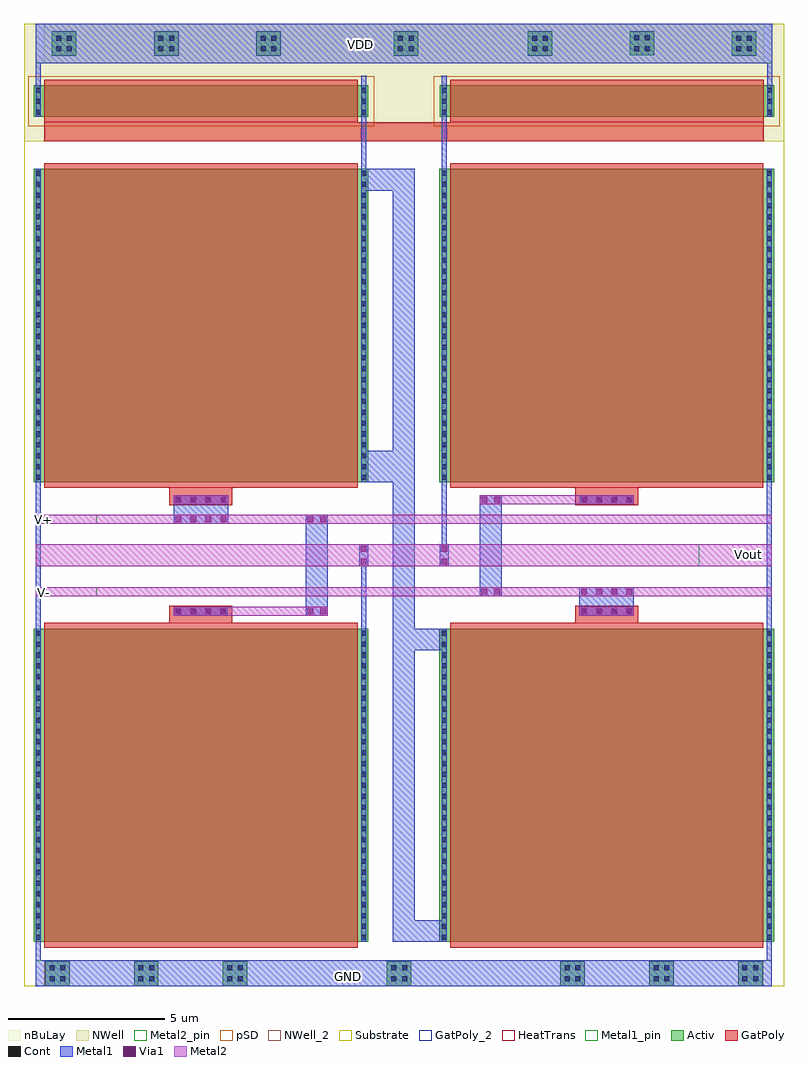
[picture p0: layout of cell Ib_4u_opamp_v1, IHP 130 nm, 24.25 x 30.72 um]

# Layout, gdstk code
from math import pi, radians
import gdstk
lib = gdstk.Library(unit=1e-6, precision=5e-09)
def R(c, l, rs):  # rectangles x0, y0, x1, y1
    for r in rs: c.add(gdstk.rectangle(r[:2], r[2:], *l))
def A(c, l, x, y, w, h, nx, ny, dx, dy):  # array of equal rectangles
    R(c, l, [(x+i*dx, y+j*dy, x+i*dx+w, y+j*dy+h) for i in range(nx) for j in range(ny)])
Activ = (1, 0)
GatPoly = (5, 0)
GatPoly_2 = (5, 2)
Cont = (6, 0)
Metal1 = (8, 0)
Metal1_pin = (8, 2)
Metal2 = (10, 0)
Metal2_pin = (10, 2)
pSD = (14, 0)
Via1 = (19, 0)
NWell = (31, 0)
NWell_2 = (31, 2)
nBuLay = (32, 0)
Substrate = (40, 0)
HeatTrans = (51, 0)

nmos = lib.new_cell('nmos')
R(nmos, Activ, [(0,0,0.3,0.3), (0,0,10.68,10), (10.38,0,10.68,0.3)])
R(nmos, GatPoly, [(0.34,-0.18,10.34,10.18)])
R(nmos, GatPoly_2, [(0.34,-0.18,10.34,10.18)])
A(nmos, Cont, 0.07, 0.07, 0.16, 0.16, 1, 4, 0, 0.345)
A(nmos, Cont, 10.45, 0.07, 0.16, 0.16, 1, 4, 0, 0.345)
A(nmos, Cont, 0.07, 1.455, 0.16, 0.16, 1, 3, 0, 0.345)
A(nmos, Cont, 10.45, 1.455, 0.16, 0.16, 1, 3, 0, 0.345)
A(nmos, Cont, 0.07, 2.495, 0.16, 0.16, 1, 4, 0, 0.345)
A(nmos, Cont, 10.45, 2.495, 0.16, 0.16, 1, 4, 0, 0.345)
A(nmos, Cont, 0.07, 3.88, 0.16, 0.16, 1, 3, 0, 0.345)
A(nmos, Cont, 10.45, 3.88, 0.16, 0.16, 1, 3, 0, 0.345)
A(nmos, Cont, 0.07, 4.92, 0.16, 0.16, 1, 4, 0, 0.345)
A(nmos, Cont, 10.45, 4.92, 0.16, 0.16, 1, 4, 0, 0.345)
A(nmos, Cont, 0.07, 6.305, 0.16, 0.16, 1, 3, 0, 0.345)
A(nmos, Cont, 10.45, 6.305, 0.16, 0.16, 1, 3, 0, 0.345)
A(nmos, Cont, 0.07, 7.345, 0.16, 0.16, 1, 4, 0, 0.345)
A(nmos, Cont, 10.45, 7.345, 0.16, 0.16, 1, 4, 0, 0.345)
A(nmos, Cont, 0.07, 8.73, 0.16, 0.16, 1, 3, 0, 0.345)
A(nmos, Cont, 10.45, 8.73, 0.16, 0.16, 1, 3, 0, 0.345)
R(nmos, Cont, [(0.07,9.77,0.23,9.93), (10.45,9.77,10.61,9.93)])
R(nmos, Metal1, [(0.07,0,0.23,10), (10.45,0,10.61,10)])
R(nmos, Metal1_pin, [(0.07,0,0.23,10), (10.45,0,10.61,10)])
R(nmos, HeatTrans, [(0.34,-0.18,10.34,10.18)])
nmos.add(gdstk.Label('nmos', (5.34,5), layer=63, texttype=0))
nmos.add(gdstk.Label('nmos', (5.34,5), layer=51, texttype=0))

pmos_2 = lib.new_cell('pmos$2')
R(pmos_2, Activ, [(0,0,0.3,0.3), (0,0,10.68,1), (10.38,0,10.68,0.3)])
R(pmos_2, GatPoly, [(0.34,-0.18,10.34,1.18), (0.34,-0.18,10.34,1.18)])
A(pmos_2, Cont, 0.07, 0.07, 0.16, 0.16, 1, 3, 0, 0.35)
A(pmos_2, Cont, 10.45, 0.07, 0.16, 0.16, 1, 3, 0, 0.35)
R(pmos_2, Metal1, [(0.07,0,0.23,1), (0.07,0,0.23,1), (10.45,0,10.61,1), (10.45,0,10.61,1)])
R(pmos_2, pSD, [(-0.18,-0.3,10.86,1.3)])
R(pmos_2, NWell, [(-0.31,-0.31,10.99,1.31)])
R(pmos_2, Substrate, [(10.38,0,10.68,0.3)])
R(pmos_2, HeatTrans, [(0.34,-0.18,10.34,1.18)])
pmos_2.add(gdstk.Label('pmos', (5.34,0.5), layer=63, texttype=0))
pmos_2.add(gdstk.Label('pmos', (5.34,0.5), layer=51, texttype=0))

pmos = lib.new_cell('pmos')
R(pmos, Activ, [(0,0,0.3,0.3), (0,0,10.68,1), (10.38,0,10.68,0.3)])
R(pmos, GatPoly, [(0.34,-0.18,10.34,1.18), (0.34,-0.18,10.34,1.18)])
A(pmos, Cont, 0.07, 0.07, 0.16, 0.16, 1, 3, 0, 0.35)
A(pmos, Cont, 10.45, 0.07, 0.16, 0.16, 1, 3, 0, 0.35)
R(pmos, Metal1, [(0.07,0,0.23,1), (0.07,0,0.23,1), (10.45,0,10.61,1), (10.45,0,10.61,1)])
R(pmos, pSD, [(-0.18,-0.3,10.86,1.3)])
R(pmos, NWell, [(-0.31,-0.31,10.99,1.31)])
R(pmos, Substrate, [(10.38,0,10.68,0.3)])
R(pmos, HeatTrans, [(0.34,-0.18,10.34,1.18)])
pmos.add(gdstk.Label('pmos', (5.34,0.5), layer=63, texttype=0))
pmos.add(gdstk.Label('pmos', (5.34,0.5), layer=51, texttype=0))

via_stack = lib.new_cell('via_stack')
R(via_stack, Metal1, [(-0.145,-0.35,0.145,0.35)])
R(via_stack, Metal2, [(-0.145,-0.35,0.145,0.35)])
R(via_stack, Via1, [(-0.095,-0.3,0.095,-0.11), (-0.095,0.11,0.095,0.3)])

via_stack_1 = lib.new_cell('via_stack$1')
R(via_stack_1, Metal1, [(-0.865,-0.145,0.865,0.145)])
R(via_stack_1, Metal2, [(-0.865,-0.145,0.865,0.145)])
A(via_stack_1, Via1, -0.815, -0.095, 0.19, 0.19, 4, 1, 0.48, 0)

ntap1 = lib.new_cell('ntap1')
R(ntap1, Activ, [(0,0,0.78,0.78)])
R(ntap1, Cont, [(0.14,0.14,0.3,0.3), (0.48,0.14,0.64,0.3), (0.14,0.48,0.3,0.64), (0.48,0.48,0.64,0.64)])
R(ntap1, Metal1, [(0.14,0.09,0.64,0.69)])
R(ntap1, Metal1_pin, [(0.14,0.09,0.64,0.69), (0.14,0.14,0.64,0.64)])
R(ntap1, NWell, [(-0.24,-0.24,1.02,1.02), (0,0,0.78,0.78)])
R(ntap1, NWell_2, [(0,0,0.78,0.78)])
R(ntap1, nBuLay, [(-0.24,-0.24,1.02,1.02)])
ntap1.add(gdstk.Label('well', (0.39,0.01), layer=63, texttype=0))
ntap1.add(gdstk.Label('well', (0.39,0.01), layer=31, texttype=0))

ptap1 = lib.new_cell('ptap1')
R(ptap1, Activ, [(0,0,0.78,0.78)])
R(ptap1, Cont, [(0.14,0.14,0.3,0.3), (0.48,0.14,0.64,0.3), (0.14,0.48,0.3,0.64), (0.48,0.48,0.64,0.64)])
R(ptap1, Metal1, [(0.14,0.09,0.64,0.69), (0.14,0.14,0.64,0.64)])
R(ptap1, Metal1_pin, [(0.14,0.14,0.64,0.64)])
R(ptap1, pSD, [(-0.03,-0.03,0.81,0.81)])
R(ptap1, Substrate, [(0,0,0.78,0.78)])
ptap1.add(gdstk.Label('sub!', (0.39,0.01), layer=63, texttype=0))
ptap1.add(gdstk.Label('sub!', (0.39,0.01), layer=40, texttype=0))

via_stack_2 = lib.new_cell('via_stack$2')
R(via_stack_2, Metal1, [(-0.35,-0.145,0.35,0.145)])
R(via_stack_2, Metal2, [(-0.35,-0.145,0.35,0.145)])
R(via_stack_2, Via1, [(-0.3,-0.095,-0.11,0.095), (0.11,-0.095,0.3,0.095)])

nmos_1 = lib.new_cell('nmos$1')
R(nmos_1, Activ, [(0,0,0.3,0.3), (0,0,10.68,10), (10.38,0,10.68,0.3)])
R(nmos_1, GatPoly, [(0.34,-0.18,10.34,10.18)])
R(nmos_1, GatPoly_2, [(0.34,-0.18,10.34,10.18)])
A(nmos_1, Cont, 0.07, 0.07, 0.16, 0.16, 1, 4, 0, 0.345)
A(nmos_1, Cont, 10.45, 0.07, 0.16, 0.16, 1, 4, 0, 0.345)
A(nmos_1, Cont, 0.07, 1.455, 0.16, 0.16, 1, 3, 0, 0.345)
A(nmos_1, Cont, 10.45, 1.455, 0.16, 0.16, 1, 3, 0, 0.345)
A(nmos_1, Cont, 0.07, 2.495, 0.16, 0.16, 1, 4, 0, 0.345)
A(nmos_1, Cont, 10.45, 2.495, 0.16, 0.16, 1, 4, 0, 0.345)
A(nmos_1, Cont, 0.07, 3.88, 0.16, 0.16, 1, 3, 0, 0.345)
A(nmos_1, Cont, 10.45, 3.88, 0.16, 0.16, 1, 3, 0, 0.345)
A(nmos_1, Cont, 0.07, 4.92, 0.16, 0.16, 1, 4, 0, 0.345)
A(nmos_1, Cont, 10.45, 4.92, 0.16, 0.16, 1, 4, 0, 0.345)
A(nmos_1, Cont, 0.07, 6.305, 0.16, 0.16, 1, 3, 0, 0.345)
A(nmos_1, Cont, 10.45, 6.305, 0.16, 0.16, 1, 3, 0, 0.345)
A(nmos_1, Cont, 0.07, 7.345, 0.16, 0.16, 1, 4, 0, 0.345)
A(nmos_1, Cont, 10.45, 7.345, 0.16, 0.16, 1, 4, 0, 0.345)
A(nmos_1, Cont, 0.07, 8.73, 0.16, 0.16, 1, 3, 0, 0.345)
A(nmos_1, Cont, 10.45, 8.73, 0.16, 0.16, 1, 3, 0, 0.345)
R(nmos_1, Cont, [(0.07,9.77,0.23,9.93), (10.45,9.77,10.61,9.93)])
R(nmos_1, Metal1, [(0.07,0,0.23,10), (10.45,0,10.61,10)])
R(nmos_1, Metal1_pin, [(0.07,0,0.23,10), (10.45,0,10.61,10)])
R(nmos_1, HeatTrans, [(0.34,-0.18,10.34,10.18)])
nmos_1.add(gdstk.Label('nmos', (5.34,5), layer=63, texttype=0))
nmos_1.add(gdstk.Label('nmos', (5.34,5), layer=51, texttype=0))

ib_4u_opamp_v1 = lib.new_cell('Ib_4u_opamp_v1')
R(ib_4u_opamp_v1, GatPoly, [(4.32,10.045,6.33,10.595), (17.265,10.045,19.275,10.595), (4.32,13.8,6.33,14.355), (17.265,13.8,19.275,14.355), (0.33,25.41,23.275,26.01)])
R(ib_4u_opamp_v1, GatPoly_2, [(4.32,10.045,6.33,10.595), (17.265,10.045,19.275,10.595), (4.32,13.8,6.33,14.355), (17.265,13.8,19.275,14.355)])
A(ib_4u_opamp_v1, Cont, 4.52, 10.34, 0.16, 0.16, 4, 1, 0.48, 0)
A(ib_4u_opamp_v1, Cont, 17.465, 10.34, 0.16, 0.16, 4, 1, 0.48, 0)
A(ib_4u_opamp_v1, Cont, 4.525, 13.895, 0.16, 0.16, 4, 1, 0.48, 0)
A(ib_4u_opamp_v1, Cont, 17.47, 13.895, 0.16, 0.16, 4, 1, 0.48, 0)
R(ib_4u_opamp_v1, Metal1, [(0.055,-1.555,0.215,-0.135), (0.055,-1.555,23.54,-0.715), (23.38,-1.555,23.54,-0.135), (11.45,-0.135,12.15,24.535), (11.45,-0.135,13.16,0.565), (11.45,9.165,13.16,9.865), (0.055,9.865,0.215,14.535), (10.435,9.865,10.595,12.55), (23.38,9.865,23.54,14.535), (8.67,10.275,9.37,13.5), (17.4,10.275,19.13,11.185), (14.22,10.895,14.92,14.12), (13,11.85,13.16,14.535), (4.46,13.21,6.19,14.12), (10.435,14.535,12.15,15.535), (10.435,23.01,10.595,27.5), (13,23.01,13.16,27.5), (10.435,23.835,12.15,24.535), (0.06,27.19,0.22,29.16), (23.385,27.19,23.545,29.16), (0.06,27.9,23.545,29.16)])
R(ib_4u_opamp_v1, Metal1_pin, [(0.055,-1.555,23.54,-0.715), (0.06,27.9,23.545,29.16)])
R(ib_4u_opamp_v1, Metal2, [(4.455,10.275,9.37,10.565), (0.055,10.895,23.54,11.185), (0.055,11.85,23.54,12.55), (0.055,13.21,23.54,13.5), (14.22,13.83,19.135,14.12)])
R(ib_4u_opamp_v1, Metal2_pin, [(0.055,10.895,2,11.185), (21.2,11.85,23.54,12.55), (0.055,13.21,2,13.5)])
R(ib_4u_opamp_v1, pSD, [(0.325,-1.555,23.27,-0.715)])
R(ib_4u_opamp_v1, NWell, [(-0.32,25.41,23.925,29.16)])
R(ib_4u_opamp_v1, nBuLay, [(0.33,27.9,23.28,29.16)])
R(ib_4u_opamp_v1, Substrate, [(-0.32,-1.555,23.925,29.16)])
ib_4u_opamp_v1.add(gdstk.Reference(nmos, (23.61,14.535), rotation=pi, x_reflection=True))
ib_4u_opamp_v1.add(gdstk.Reference(pmos_2, (-0.01,26.19)))
ib_4u_opamp_v1.add(gdstk.Reference(pmos, (12.935,26.19)))
ib_4u_opamp_v1.add(gdstk.Reference(via_stack, (10.515,12.2)))
ib_4u_opamp_v1.add(gdstk.Reference(via_stack, (13.08,12.2)))
ib_4u_opamp_v1.add(gdstk.Reference(via_stack_1, (5.325,13.975)))
ib_4u_opamp_v1.add(gdstk.Reference(via_stack_1, (18.27,13.975)))
ib_4u_opamp_v1.add(gdstk.Reference(ntap1, (0.57,28.14)))
ib_4u_opamp_v1.add(gdstk.Reference(ntap1, (22.26,28.14)))
ib_4u_opamp_v1.add(gdstk.Reference(ntap1, (3.83,28.14)))
ib_4u_opamp_v1.add(gdstk.Reference(ntap1, (19.005,28.145)))
ib_4u_opamp_v1.add(gdstk.Reference(ntap1, (7.09,28.14)))
ib_4u_opamp_v1.add(gdstk.Reference(ntap1, (15.75,28.14)))
ib_4u_opamp_v1.add(gdstk.Reference(ntap1, (11.47,28.14)))
ib_4u_opamp_v1.add(gdstk.Reference(ptap1, (22.46,-1.525)))
ib_4u_opamp_v1.add(gdstk.Reference(ptap1, (19.625,-1.525)))
ib_4u_opamp_v1.add(gdstk.Reference(ptap1, (16.79,-1.525)))
ib_4u_opamp_v1.add(gdstk.Reference(ptap1, (11.26,-1.525)))
ib_4u_opamp_v1.add(gdstk.Reference(ptap1, (6.025,-1.525)))
ib_4u_opamp_v1.add(gdstk.Reference(ptap1, (3.19,-1.525)))
ib_4u_opamp_v1.add(gdstk.Reference(ptap1, (0.355,-1.525)))
ib_4u_opamp_v1.add(gdstk.Reference(via_stack_1, (18.265,10.42)))
ib_4u_opamp_v1.add(gdstk.Reference(via_stack_1, (5.32,10.42)))
ib_4u_opamp_v1.add(gdstk.Reference(via_stack_2, (14.57,11.04)))
ib_4u_opamp_v1.add(gdstk.Reference(via_stack_2, (14.57,13.975)))
ib_4u_opamp_v1.add(gdstk.Reference(via_stack_1, (5.325,13.355)))
ib_4u_opamp_v1.add(gdstk.Reference(via_stack_1, (18.265,11.04)))
ib_4u_opamp_v1.add(gdstk.Reference(via_stack_2, (9.02,10.42)))
ib_4u_opamp_v1.add(gdstk.Reference(via_stack_2, (9.02,13.355)))
ib_4u_opamp_v1.add(gdstk.Reference(nmos_1, (-0.015,14.535)))
ib_4u_opamp_v1.add(gdstk.Reference(nmos_1, (23.61,-0.135), rotation=pi, x_reflection=True))
ib_4u_opamp_v1.add(gdstk.Reference(nmos, (-0.015,-0.135)))
ib_4u_opamp_v1.add(gdstk.Label('V+', (0.31,13.33), layer=10, texttype=25))
ib_4u_opamp_v1.add(gdstk.Label('V-', (0.3,11.005), layer=10, texttype=25))
ib_4u_opamp_v1.add(gdstk.Label('Vout', (22.805,12.215), layer=10, texttype=25))
ib_4u_opamp_v1.add(gdstk.Label('GND', (10.025,-1.245), layer=8, texttype=25))
ib_4u_opamp_v1.add(gdstk.Label('VDD', (10.41,28.495), layer=8, texttype=25))

lib.write_gds('Ib_4u_opamp_v1.gds')
